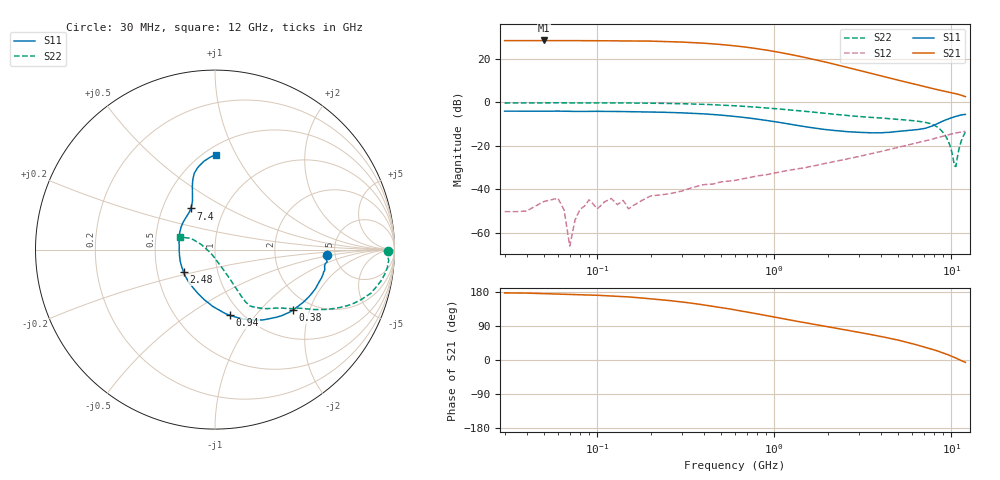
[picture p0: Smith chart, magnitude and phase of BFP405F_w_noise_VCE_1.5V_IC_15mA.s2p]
! Infineon Technologies  Discrete & RF Semiconductors
! BFP405F
! VCE =  1.5 V,  IC =  15 mA
! Common Emitter S-Parameters:  Nov 2015
# GHz  S  MA  R  50
!  f  S11  S21  S12  S22
! GHz  MAG  ANG  MAG  ANG  MAG  ANG  MAG  ANG
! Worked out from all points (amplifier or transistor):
!   239 points, 30 MHz to 12 GHz, reference 50 ohm
!   highest |S21| = 28.4 dB at 50 MHz (marker M1)
!   |S21| within 3 dB of that: start of sweep to 682 MHz
!   unconditionally stable (mu >= 1): 69.43 MHz to 72.55 MHz; 1.755 GHz to end of sweep
!   at 300 MHz: K = 0.25, MSG = 34.2 dB, |S12| = -40.7 dB
!   at 1.88 GHz: K = 1.03, MAG = 22.4 dB, |S12| = -28.3 dB
!   at 12 GHz: K = 1.39, MAG = 4.2 dB, |S12| = -13.3 dB
!   lowest NFmin = 1.97 dB at 450 MHz
!   S11 on the Smith chart (normalised r, x): 30 MHz: 4.32, -0.44; 380 MHz: 1.60, -1.55; 940 MHz: 0.88, -0.75; 2.48 GHz: 0.68, -0.18; 7.4 GHz: 0.69, +0.34; 12 GHz: 0.57, +0.84
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0.03  0.6271 -2.8  25.99 177.1  0.0031 106.0  0.9629 -0.4
0.05  0.6232 -5.4  26.28 175.1  0.0053 96.2  0.975 -1.6
0.06  0.6289 -6.3  26.06 174.3  0.0063 95.5  0.9755 -2.0
0.065  0.6244 -6.7  26.06 173.7  0.0034 93.2  0.9725 -2.1
0.07  0.6199 -7.2  26.05 173.0  0.0005 62.5  0.9696 -2.3
0.085  0.6188 -9.1  25.96 171.9  0.0042 69.4  0.9682 -3.3
0.15  0.6104 -16.0  25.71 166.5  0.0036 90.3  0.9645 -6.2
0.24  0.5904 -24.9  24.81 158.2  0.0077 80.7  0.9459 -9.9
0.3  0.5734 -30.6  24.14 153.1  0.0092 81.5  0.9287 -12.2
0.38  0.5487 -38.0  22.99 146.9  0.0123 75.6  0.9071 -14.9
0.46  0.5229 -44.8  21.83 141.1  0.0136 75.4  0.8792 -17.4
0.6  0.4744 -55.7  19.73 132.1  0.0162 72.0  0.8329 -20.9
0.7  0.4423 -62.5  18.37 126.6  0.0183 70.1  0.8017 -22.9
0.94  0.3751 -77.2  15.36 115.7  0.0226 68.2  0.7338 -26.6
1.3  0.3012 -96.4  12.02 103.3  0.0288 67.0  0.6541 -30.7
1.64  0.2609 -111.8  9.824 95.1  0.0344 66.9  0.5984 -33.4
2.48  0.2155 -144.3  6.593 80.0  0.0483 66.2  0.5056 -40.3
4.5  0.2056 166.5  3.586 57.3  0.083 60.0  0.4225 -50.9
7.4  0.2664 120.6  2.182 31.3  0.1352 47.7  0.3351 -59.8
9.2  0.3885 108.8  1.788 16.9  0.1712 38.1  0.1768 -63.4
10.6  0.4751 100.6  1.576 5.0  0.1983 29.4  0.0336 -158.7
12  0.5273 89.1  1.35 -6.2  0.2161 21.5  0.2074 160.2
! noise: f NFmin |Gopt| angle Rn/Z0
0.45  1.97  0.11  2  0.35
0.9  1.99  0.1  4  0.33
1.5  2.03  0.08  8  0.23
1.9  2.09  0.06  10  0.28
2.4  2.24  0.04  13  0.42
3  2.32  0.03  6  0.36
3.5  2.38  0.01  -46  0.48
4.5  2.58  0.08  -93  0.25
5.5  2.83  0.16  -88  0.1
